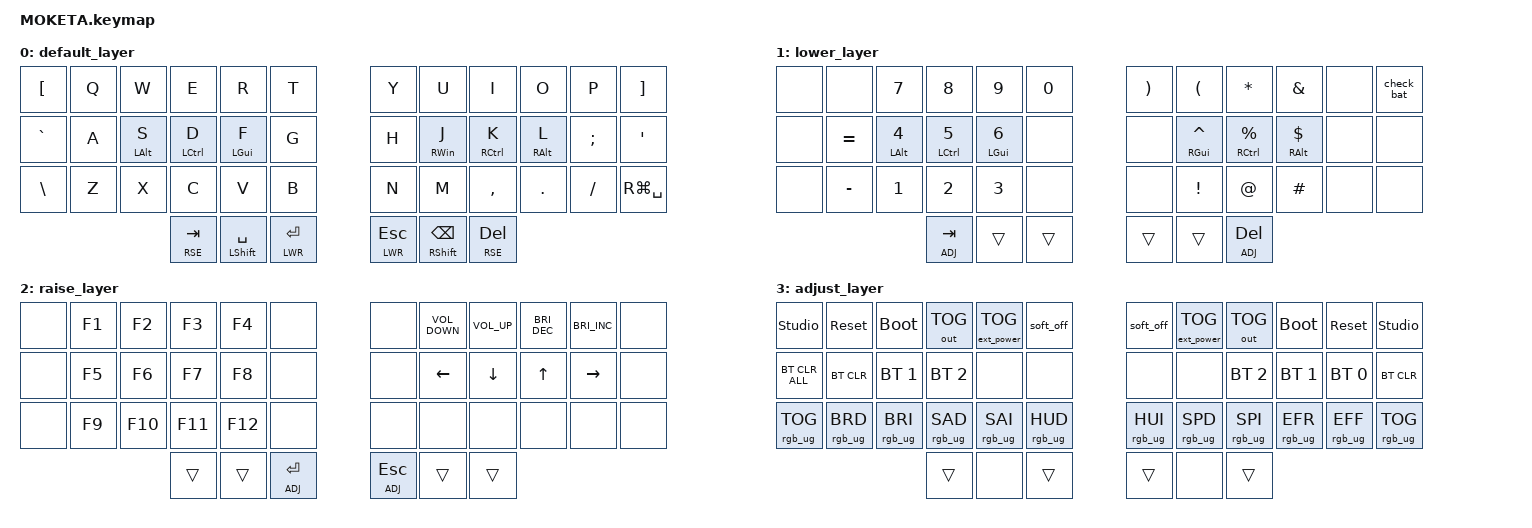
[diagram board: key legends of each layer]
#include <behaviors.dtsi>
#include <dt-bindings/zmk/bt.h>
#include <dt-bindings/zmk/ext_power.h>
#include <dt-bindings/zmk/keys.h>
#include <dt-bindings/zmk/outputs.h>
#include <dt-bindings/zmk/rgb.h>

#define DEF 0
#define LWR 1
#define RSE 2
#define ADJ 3

/ {
};

/ {
    behaviors {
        hrm: hr {
            compatible = "zmk,behavior-hold-tap";
            label = "hrm";
            bindings = <&kp>, <&kp>;

            #binding-cells = <2>;
            tapping-term-ms = <200>;
            flavor = "balanced";
            quick-tap-ms = <150>;
        };
    };

    keymap {
        compatible = "zmk,keymap";

        default_layer {
            bindings = <
&kp LEFT_BRACKET  &kp Q  &kp W            &kp E         &kp R            &kp T                                      &kp Y           &kp U             &kp I         &kp O             &kp P     &kp RIGHT_BRACKET
&kp GRAVE         &kp A  &hrm LEFT_ALT S  &hrm LCTRL D  &hrm LEFT_GUI F  &kp G                                      &kp H           &hrm RIGHT_WIN J  &hrm RCTRL K  &hrm RIGHT_ALT L  &kp SEMI  &kp SQT
&kp BSLH          &kp Z  &kp X            &kp C         &kp V            &kp B                                      &kp N           &kp M             &kp COMMA     &kp DOT           &kp FSLH  &kp RG(SPACE)
                                                        &lt RSE TAB      &mt LSHFT SPACE  &lt LWR RET  &lt LWR ESC  &mt RSHFT BSPC  &lt RSE DEL
            >;
        };

        lower_layer {
            bindings = <
&none  &none      &kp N7                  &kp N8                &kp N9                  &kp N0                  &kp RIGHT_PARENTHESIS  &kp LEFT_PARENTHESIS  &kp ASTERISK        &kp AMPERSAND          &none  &check_bat
&none  &kp EQUAL  &hrm LEFT_ALT NUMBER_4  &hrm LEFT_CONTROL N5  &hrm LEFT_GUI NUMBER_6  &none                   &none                  &hrm RIGHT_GUI CARET  &hrm RCTRL PERCENT  &hrm RIGHT_ALT DOLLAR  &none  &none
&none  &kp MINUS  &kp NUMBER_1            &kp NUMBER_2          &kp NUMBER_3            &none                   &none                  &kp EXCLAMATION       &kp AT_SIGN         &kp HASH               &none  &none
                                                                &lt ADJ TAB             &trans  &trans  &trans  &trans                 &lt ADJ DEL
            >;
        };

        raise_layer {
            bindings = <
&none  &kp F1  &kp F2   &kp F3   &kp F4   &none                             &none   &kp C_VOLUME_DOWN  &kp C_VOLUME_UP  &kp C_BRIGHTNESS_DEC  &kp C_BRIGHTNESS_INC  &none
&none  &kp F5  &kp F6   &kp F7   &kp F8   &none                             &none   &kp LEFT           &kp DOWN         &kp UP                &kp RIGHT_ARROW       &none
&none  &kp F9  &kp F10  &kp F11  &kp F12  &none                             &none   &none              &none            &none                 &none                 &none
                                 &trans   &trans  &lt ADJ RET  &lt ADJ ESC  &trans  &trans
            >;
        };

        adjust_layer {
            bindings = <
&studio_unlock   &sys_reset       &bootloader      &out OUT_TOG     &ext_power EP_TOG  &soft_off                        &soft_off        &ext_power EP_TOG  &out OUT_TOG     &bootloader      &sys_reset       &studio_unlock
&bt BT_CLR_ALL   &bt BT_CLR       &bt BT_SEL 1     &bt BT_SEL 2     &none              &none                            &none            &none              &bt BT_SEL 2     &bt BT_SEL 1     &bt BT_SEL 0     &bt BT_CLR
&rgb_ug RGB_TOG  &rgb_ug RGB_BRD  &rgb_ug RGB_BRI  &rgb_ug RGB_SAD  &rgb_ug RGB_SAI    &rgb_ug RGB_HUD                  &rgb_ug RGB_HUI  &rgb_ug RGB_SPD    &rgb_ug RGB_SPI  &rgb_ug RGB_EFR  &rgb_ug RGB_EFF  &rgb_ug RGB_TOG
                                                                    &trans             &none            &trans  &trans  &none            &trans
            >;
        };
    };
};
